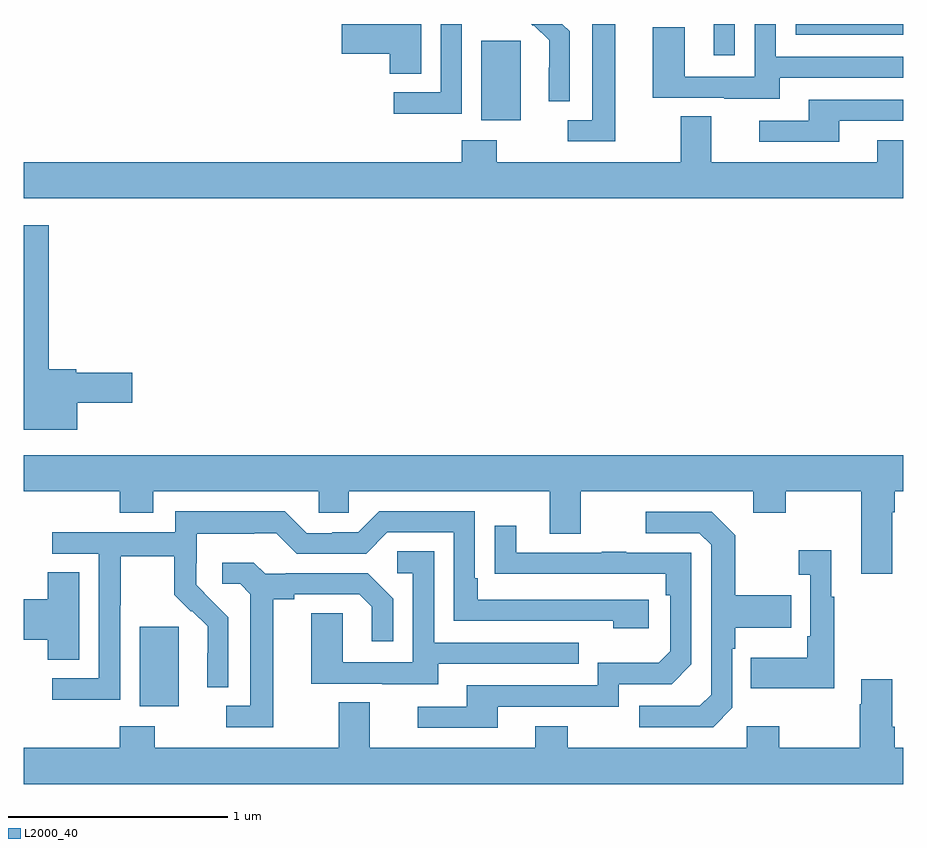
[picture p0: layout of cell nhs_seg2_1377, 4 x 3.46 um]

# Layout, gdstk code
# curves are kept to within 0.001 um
import gdstk
lib = gdstk.Library(unit=1e-6, precision=1e-09)
def R(c, l, rs):  # rectangles x0, y0, x1, y1
    for r in rs: c.add(gdstk.rectangle(r[:2], r[2:], *l))
def P(c, l, *ps):  # polygons
    for p in ps: c.add(gdstk.Polygon(p, *l))
L2000_40 = (2000, 40)

nhs_seg2_1377 = lib.new_cell('nhs_seg2_1377')
R(nhs_seg2_1377, L2000_40, [(183.527,606.698,183.706,607.059), (185.081,609.362,185.26,609.723), (186.137,609.657,186.234,609.8), (186.51,609.75,187,609.8)])
P(nhs_seg2_1377, L2000_40, [(186.439,609.555),(187,609.555),(187,609.651),(186.42,609.651),(186.42,609.8),(186.324,609.8),(186.324,609.561),(186.006,609.561),(186.006,609.785),(185.861,609.785),(185.861,609.465),(186.185,609.465),(186.185,609.461),(186.439,609.461)],
  [(184.807,609.8),(184.446,609.8),(184.446,609.665),(184.664,609.665),(184.664,609.574),(184.807,609.574)],
  [(185.689,609.8),(185.585,609.8),(185.585,609.363),(185.475,609.363),(185.475,609.267),(185.689,609.267)],
  [(184.992,609.8),(184.896,609.8),(184.896,609.489),(184.683,609.489),(184.683,609.391),(184.992,609.391)],
  [(185.484,609.766),(185.45,609.8),(185.308,609.8),(185.316,609.792),(185.319,609.795),(185.39,609.725),(185.39,609.602),(185.388,609.602),(185.388,609.448),(185.484,609.448)],
  [(186.709,609.36),(187,609.36),(187,609.456),(186.569,609.456),(186.569,609.36),(186.345,609.36),(186.345,609.264),(186.709,609.264)],
  [(187,609.271),(186.881,609.271),(186.881,609.172),(186.127,609.172),(186.127,609.38),(185.987,609.38),(185.987,609.172),(185.151,609.172),(185.151,609.271),(184.991,609.271),(184.991,609.172),(183,609.172),(183,609.008),(187,609.008)],
  [(183.244,608.078),(183.493,608.078),(183.493,608.213),(183.24,608.213),(183.24,608.231),(183.115,608.231),(183.115,608.884),(183,608.884),(183,607.955),(183.244,607.955)],
  [(186.949,607.58),(186.962,607.58),(186.962,607.676),(187,607.676),(187,607.84),(183,607.84),(183,607.676),(183.437,607.676),(183.437,607.577),(183.589,607.577),(183.589,607.676),(184.341,607.676),(184.341,607.578),(184.479,607.578),(184.479,607.676),(185.393,607.676),(185.393,607.482),(185.533,607.482),(185.533,607.676),(186.317,607.676),(186.317,607.577),(186.465,607.577),(186.465,607.676),(186.809,607.676),(186.809,607.299),(186.949,607.299)],
  [(183.438,607.156),(183.441,607.156),(183.441,607.38),(183.685,607.38),(183.685,607.205),(183.762,607.128),(183.765,607.131),(183.836,607.061),(183.836,606.938),(183.834,606.938),(183.834,606.784),(183.93,606.784),(183.93,607.102),(183.784,607.25),(183.784,607.347),(183.786,607.347),(183.786,607.481),(184.049,607.481),(184.049,607.485),(184.149,607.485),(184.242,607.392),(184.557,607.392),(184.653,607.488),(184.956,607.488),(184.956,607.086),(185.681,607.086),(185.681,607.052),(185.842,607.052),(185.842,607.182),(185.065,607.182),(185.065,607.279),(185.052,607.279),(185.052,607.584),(184.617,607.584),(184.521,607.488),(184.403,607.488),(184.403,607.485),(184.287,607.485),(184.187,607.585),(183.69,607.585),(183.69,607.488),(183.129,607.488),(183.129,607.392),(183.342,607.392),(183.342,606.825),(183.129,606.825),(183.129,606.727),(183.438,606.727)],
  [(186.222,606.69),(186.222,606.959),(186.235,606.959),(186.235,607.055),(186.491,607.055),(186.491,607.203),(186.235,607.203),(186.235,607.475),(186.129,607.581),(185.829,607.581),(185.829,607.485),(186.072,607.485),(186.126,607.431),(186.126,606.75),(186.075,606.699),(185.799,606.699),(185.799,606.603),(186.135,606.603)],
  [(185.155,606.696),(185.706,606.696),(185.706,606.798),(185.946,606.798),(186.036,606.888),(186.036,607.395),(185.741,607.395),(185.741,607.4),(185.629,607.4),(185.629,607.395),(185.239,607.395),(185.239,607.519),(185.143,607.519),(185.143,607.3),(185.92,607.299),(185.92,607.202),(185.94,607.202),(185.94,606.948),(185.887,606.895),(185.61,606.895),(185.61,606.792),(185.015,606.792),(185.015,606.696),(184.791,606.696),(184.791,606.6),(185.155,606.6)],
  [(186.685,607.195),(186.673,607.195),(186.673,607.408),(186.525,607.408),(186.525,607.295),(186.576,607.295),(186.576,607.015),(186.564,607.015),(186.564,606.919),(186.307,606.919),(186.307,606.779),(186.685,606.779)],
  [(184.885,606.891),(185.525,606.891),(185.525,606.987),(184.866,606.987),(184.866,607.403),(184.698,607.403),(184.698,607.302),(184.77,607.302),(184.77,606.897),(184.452,606.897),(184.452,607.121),(184.307,607.121),(184.307,606.801),(184.631,606.801),(184.631,606.797),(184.885,606.797)],
  [(184.135,607.184),(184.231,607.184),(184.231,607.206),(184.526,607.206),(184.583,607.149),(184.583,606.993),(184.68,606.993),(184.68,607.186),(184.564,607.302),(184.192,607.302),(184.192,607.299),(184.098,607.299),(184.046,607.351),(183.903,607.351),(183.903,607.254),(183.984,607.254),(184.031,607.207),(184.031,606.699),(183.921,606.699),(183.921,606.603),(184.135,606.603)],
  [(183.253,607.307),(183.11,607.307),(183.11,607.184),(183,607.184),(183,607.001),(183.11,607.001),(183.11,606.91),(183.253,606.91)],
  [(187,606.508),(186.962,606.508),(186.962,606.604),(186.949,606.604),(186.949,606.82),(186.809,606.82),(186.809,606.707),(186.802,606.707),(186.802,606.508),(186.435,606.508),(186.435,606.607),(186.288,606.607),(186.288,606.508),(185.475,606.508),(185.475,606.607),(185.327,606.607),(185.327,606.508),(184.573,606.508),(184.573,606.716),(184.433,606.716),(184.433,606.508),(183.597,606.508),(183.597,606.607),(183.437,606.607),(183.437,606.508),(183,606.508),(183,606.344),(187,606.344)])

lib.write_gds('nhs_seg2_1377.gds')
